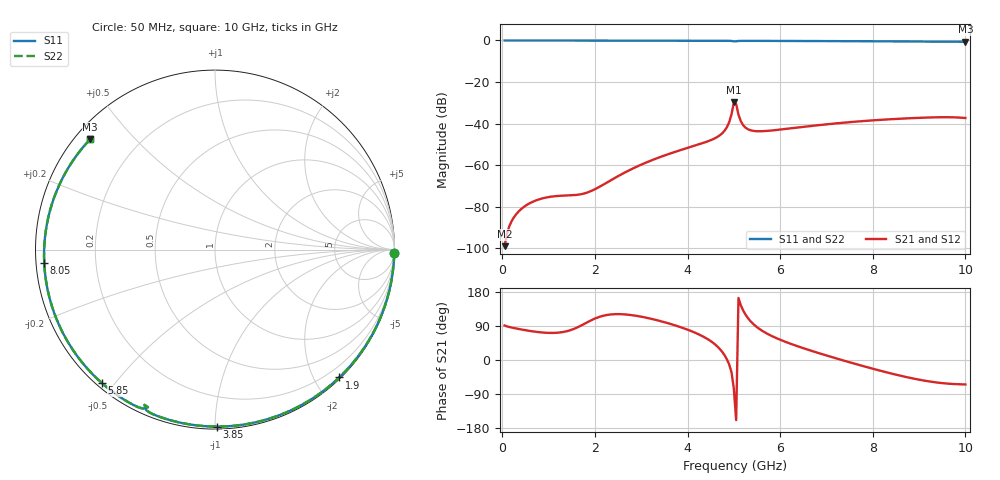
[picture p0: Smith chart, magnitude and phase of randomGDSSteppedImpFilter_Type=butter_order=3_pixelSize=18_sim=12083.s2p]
! freq	dB(S11)	phase(S11)	dB(S12)	phase(S12)
!  dB(S21)	phase(S21)	dB(S22)	phase(S22)
!S-par simulation data
#  GHz  S  DB  R 50
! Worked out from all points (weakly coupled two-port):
!   200 points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, 50 MHz to 10 GHz, reference 50 ohm
!   highest |S21| = -29.81 dB at 5 GHz (marker M1); lowest = -99.1 dB at 50 MHz (marker M2)
!   lowest |S11| = -0.6 dB at 10 GHz (marker M3), VSWR 26.94, Z = 2.12 + j18.9 ohm
!   |S11| at or under -10 dB: nowhere
!   |S22| runs from -0.6 to 0.0 dB; largest |S21 - S12| = 0
!   S11 on the Smith chart (normalised r, x): 50 MHz: 3, -96; 1.9 GHz: 0.02, -2.37; 3.85 GHz: 0.01, -1.01; 5.85 GHz: 0.02, -0.46; 8.05 GHz: 0.02, -0.04; 10 GHz: 0.04, +0.38
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0.05  -0.01 -1.2  -99.06 91.0  -99.06 91.0  -0.01 -1.2
0.45  -0.02 -11.0  -80.42 79.7  -80.42 79.7  -0.02 -11.0
0.95  -0.03 -23.2  -75.62 71.8  -75.62 71.8  -0.03 -23.2
1.75  -0.05 -42.3  -73.81 94.0  -73.81 94.0  -0.05 -42.3
1.9  -0.06 -45.8  -72.68 103.7  -72.68 103.7  -0.06 -45.8
3.4  -0.10 -79.6  -56.21 103.1  -56.21 103.1  -0.10 -79.7
3.85  -0.12 -89.4  -52.79 86.6  -52.79 86.6  -0.12 -89.4
4.5  -0.15 -103.1  -48.04 49.9  -48.04 49.9  -0.15 -103.1
4.75  -0.16 -108.4  -44.69 21.3  -44.69 21.3  -0.16 -108.4
4.9  -0.19 -111.8  -39.34 -12.0  -39.34 -12.0  -0.19 -111.9
5  -0.44 -114.4  -29.81 -76.2  -29.81 -76.2  -0.45 -114.4
5.05  -0.41 -113.0  -30.55 -158.7  -30.55 -158.7  -0.41 -113.0
5.1  -0.24 -114.3  -35.72 163.7  -35.72 163.7  -0.24 -114.3
5.15  -0.21 -115.7  -38.87 144.5  -38.87 144.5  -0.21 -115.6
5.25  -0.20 -117.9  -41.95 120.2  -41.95 120.2  -0.20 -117.9
5.45  -0.20 -122.2  -43.63 91.6  -43.63 91.6  -0.20 -122.2
5.85  -0.22 -130.3  -43.28 61.5  -43.28 61.5  -0.22 -130.3
6.7  -0.28 -147.5  -41.11 23.3  -41.11 23.3  -0.28 -147.5
8.05  -0.41 -175.5  -38.40 -24.7  -38.40 -24.7  -0.41 -175.5
8.35  -0.44 177.9  -37.98 -34.2  -37.98 -34.2  -0.44 177.9
9.2  -0.54 158.5  -37.11 -56.2  -37.11 -56.2  -0.54 158.5
10  -0.65 138.5  -37.35 -64.5  -37.35 -64.5  -0.65 138.5
